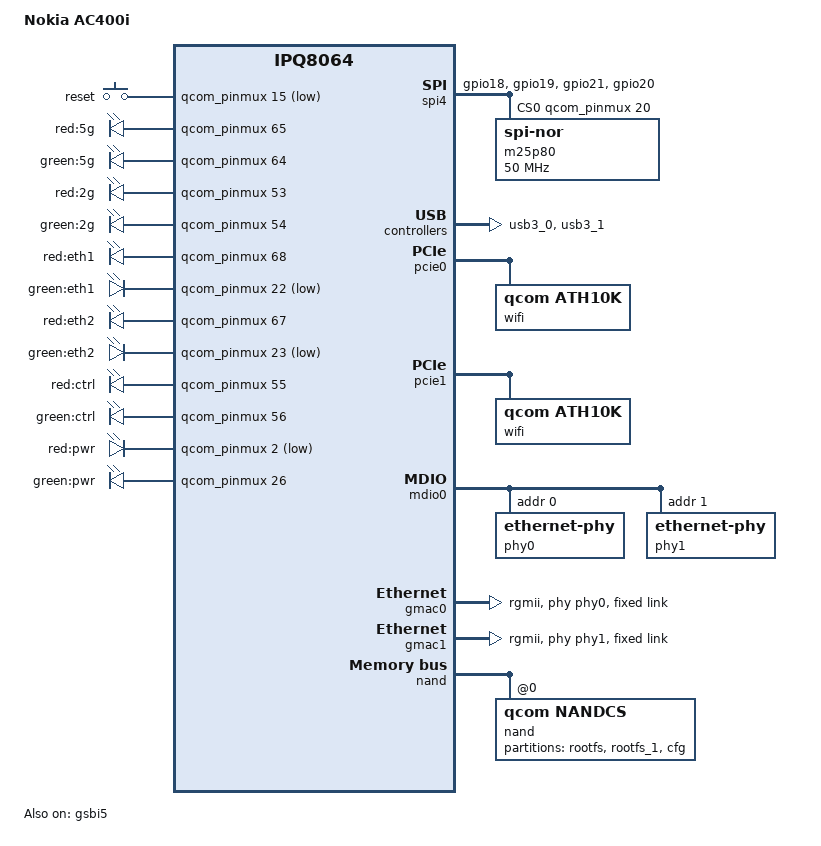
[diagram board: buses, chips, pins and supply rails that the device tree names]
// SPDX-License-Identifier: GPL-2.0-or-later OR MIT

#include "qcom-ipq8065-smb208.dtsi"
#include <dt-bindings/input/input.h>

/ {
	model = "Nokia AC400i";
	compatible = "nokia,ac400i", "qcom,ipq8065", "qcom,ipq8064";

	aliases {
		mdio-gpio0 = &mdio0;
		ethernet0 = &gmac0;
		ethernet1 = &gmac1;

		led-boot = &pwr_red;
		led-failsafe = &pwr_red;
		led-running = &pwr_green;
		led-upgrade = &pwr_green;
	};

	chosen {
		bootargs-override = " console=ttyMSM0,115200n8 ubi.mtd=ubi root=/dev/ubiblock0_2";
	};

	keys {
		compatible = "gpio-keys";
		pinctrl-0 = <&button_pins>;
		pinctrl-names = "default";

		reset {
			label = "reset";
			gpios = <&qcom_pinmux 15 GPIO_ACTIVE_LOW>;
			linux,code = <KEY_RESTART>;
		};
	};

	leds {
		compatible = "gpio-leds";
		pinctrl-0 = <&led_pins>;
		pinctrl-names = "default";

		5g_red {
			label = "red:5g";
			gpios = <&qcom_pinmux 65 GPIO_ACTIVE_HIGH>;
		};

		5g_green {
			label = "green:5g";
			gpios = <&qcom_pinmux 64 GPIO_ACTIVE_HIGH>;
		};

		2g_red {
			label = "red:2g";
			gpios = <&qcom_pinmux 53 GPIO_ACTIVE_HIGH>;
		};

		2g_green {
			label = "green:2g";
			gpios = <&qcom_pinmux 54 GPIO_ACTIVE_HIGH>;
		};

		eth1_red {
			label = "red:eth1";
			gpios = <&qcom_pinmux 68 GPIO_ACTIVE_HIGH>;
		};

		eth1_green {
			label = "green:eth1";
			gpios = <&qcom_pinmux 22 GPIO_ACTIVE_LOW>;
		};

		eth2_red {
			label = "red:eth2";
			gpios = <&qcom_pinmux 67 GPIO_ACTIVE_HIGH>;
		};

		eth2_green {
			label = "green:eth2";
			gpios = <&qcom_pinmux 23 GPIO_ACTIVE_LOW>;
		};

		ctrl_red {
			label = "red:ctrl";
			gpios = <&qcom_pinmux 55 GPIO_ACTIVE_HIGH>;
		};

		ctrl_green {
			label = "green:ctrl";
			gpios = <&qcom_pinmux 56 GPIO_ACTIVE_HIGH>;
		};

		pwr_red: pwr_red {
			label = "red:pwr";
			gpios = <&qcom_pinmux 2 GPIO_ACTIVE_LOW>;
		};

		pwr_green: pwr_green {
			label = "green:pwr";
			gpios = <&qcom_pinmux 26 GPIO_ACTIVE_HIGH>;
		};
	};
};

&qcom_pinmux {
	spi_pins: spi-state {
		/delete-property/ pins;
		/delete-property/ function;
		/delete-property/ drive-strength;
		/delete-property/ bias-disable;

		mux {
			pins = "gpio18", "gpio19";
			function = "gsbi5";
			drive-strength = <10>;
			bias-pull-down;
		};

		clk {
			pins = "gpio21";
			function = "gsbi5";
			drive-strength = <12>;
			bias-pull-down;
		};

		cs {
			pins = "gpio20";
			function = "gpio";
			drive-strength = <10>;
			bias-pull-up;
		};
	};

	led_pins: led_pins {
		mux {
			pins = "gpio65", "gpio64",
				   "gpio53", "gpio54",
				   "gpio68", "gpio22",
				   "gpio67", "gpio23",
				   "gpio55", "gpio56",
				   "gpio2", "gpio26";
			function = "gpio";
			drive-strength = <2>;
			bias-pull-up;
		};
	};

	button_pins: button_pins {
		mux {
			pins = "gpio15";
			function = "gpio";
			drive-strength = <2>;
			bias-pull-up;
		};
	};

};

&gsbi5 {
	qcom,mode = <GSBI_PROT_SPI>;
	status = "okay";

	spi4: spi@1a280000 {
		status = "okay";
		spi-max-frequency = <50000000>;

		pinctrl-0 = <&spi_pins>;
		pinctrl-names = "default";

		cs-gpios = <&qcom_pinmux 20 GPIO_ACTIVE_HIGH>;

		m25p80@0 {
			compatible = "jedec,spi-nor";
			#address-cells = <1>;
			#size-cells = <1>;
			spi-max-frequency = <50000000>;
			reg = <0>;

			partitions {
				compatible = "qcom,smem-part";
			};
		};
	};
};

&usb3_0 {
	status = "okay";
};

&usb3_1 {
	status = "okay";
};

&pcie0 {
	status = "okay";

	/delete-property/ pinctrl-0;
	/delete-property/ pinctrl-names;
	/delete-property/ perst-gpios;

	bridge@0,0 {
			reg = <0x00000000 0 0 0 0>;
			#address-cells = <3>;
			#size-cells = <2>;
			ranges;

			wifi@1,0 {
					compatible = "qcom,ath10k";
					status = "okay";
					reg = <0x00010000 0 0 0 0>;
					qcom,ath10k-calibration-variant = "Nokia-AC400i";
			};
	};
};

&pcie1 {
	status = "okay";

	/delete-property/ pinctrl-0;
	/delete-property/ pinctrl-names;
	/delete-property/ perst-gpios;

	bridge@0,0 {
			reg = <0x00000000 0 0 0 0>;
			#address-cells = <3>;
			#size-cells = <2>;
			ranges;

			wifi@1,0 {
					compatible = "qcom,ath10k";
					status = "okay";
					reg = <0x00010000 0 0 0 0>;
					qcom,ath10k-calibration-variant = "Nokia-AC400i";
			};
	};
};

&mdio0 {
	status = "okay";
	pinctrl-0 = <&mdio0_pins>;
	pinctrl-names = "default";

	phy0: ethernet-phy@0 {
		reg = <0>;
	};

	phy1: ethernet-phy@1 {
		reg = <1>;
	};

};

//POE
&gmac0 {
	status = "okay";
	qcom,id = <0>;

	pinctrl-0 = <&rgmii2_pins>;
	pinctrl-names = "default";

	mdiobus = <&mdio0>;
	phy-handle = <&phy0>;
	phy-mode = "rgmii";

	fixed-link {
		speed = <1000>;
		full-duplex;
	};
};

//LAN1
&gmac1 {
	status = "okay";
	qcom,id = <1>;

	mdiobus = <&mdio0>;
	phy-handle = <&phy1>;
	phy-mode = "rgmii";

	fixed-link {
		speed = <1000>;
		full-duplex;
	};
};

&nand {
	status = "okay";
	pinctrl-0 = <&nand_pins>;
	pinctrl-names = "default";

	nand@0 {
		reg = <0>;
		compatible = "qcom,nandcs";

		nand-ecc-strength = <4>;
		nand-bus-width = <8>;
		nand-ecc-step-size = <512>;

		partitions {
			compatible = "fixed-partitions";
			#address-cells = <1>;
			#size-cells = <1>;

			rootfs@0 {
				label = "rootfs";
				reg = <0x0000000 0x4000000>;
			};

			rootfs_1@4000000 {
				label = "rootfs_1";
				reg = <0x4000000 0x4000000>;
			};

			cfg@8000000 {
				label = "cfg";
				reg = <0x8000000 0x8000000>;
			};
		};
	};
};

&adm_dma {
	status = "okay";
};
